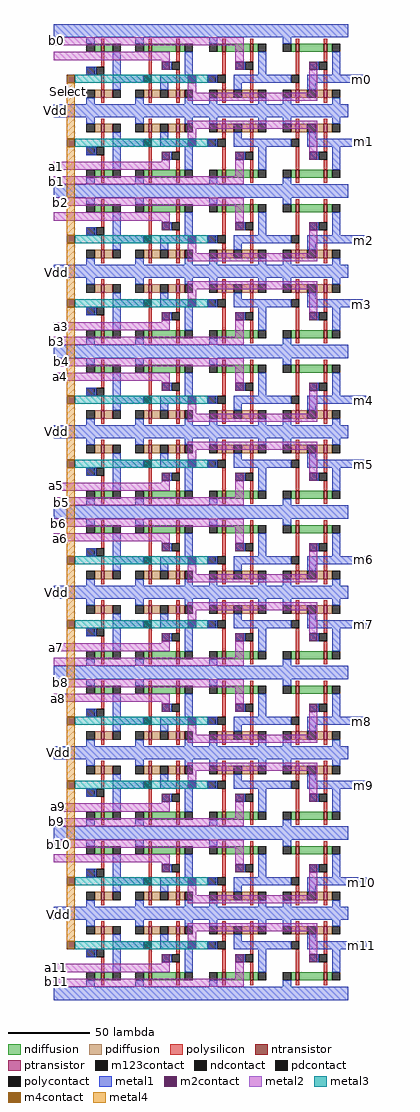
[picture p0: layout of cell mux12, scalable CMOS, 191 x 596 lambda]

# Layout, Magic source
magic
tech scmos
<< metal1 >>
rect -14 588 0 596
rect 169 560 177 565
rect -14 539 0 547
rect 169 521 177 526
rect -14 490 0 498
rect 169 462 177 467
rect -14 441 0 449
rect 169 423 177 428
rect -14 392 0 400
rect 169 364 177 369
rect -14 343 0 351
rect 169 325 177 330
rect -14 294 0 302
rect 169 266 177 271
rect -14 245 0 253
rect 169 227 177 232
rect -14 196 0 204
rect 169 168 177 173
rect -14 147 0 155
rect 169 129 177 134
rect -14 98 0 106
rect 169 70 177 75
rect -14 49 0 57
rect 169 31 177 36
rect -14 0 0 8
<< metal2 >>
rect -14 583 3 588
rect -14 574 3 579
rect -14 507 3 512
rect -14 498 3 503
rect -14 485 3 490
rect -14 476 3 481
rect -14 409 3 414
rect -14 400 3 405
rect -14 387 3 392
rect -14 378 3 383
rect -14 311 3 316
rect -14 302 3 307
rect -14 289 3 294
rect -14 280 3 285
rect -14 213 3 218
rect -14 204 3 209
rect -14 191 3 196
rect -14 182 3 187
rect -14 115 3 120
rect -14 106 3 111
rect -14 93 3 98
rect -14 84 3 89
rect -14 17 3 22
rect -14 8 3 13
<< metal3 >>
rect -1 560 6 565
rect -1 521 6 526
rect -1 462 6 467
rect -1 423 6 428
rect -1 364 6 369
rect -1 325 6 330
rect -1 266 6 271
rect -1 227 6 232
rect -1 168 6 173
rect -1 129 6 134
rect -1 70 6 75
rect -1 31 6 36
<< m4contact >>
rect -6 560 -1 565
rect -6 521 -1 526
rect -6 462 -1 467
rect -6 423 -1 428
rect -6 364 -1 369
rect -6 325 -1 330
rect -6 266 -1 271
rect -6 227 -1 232
rect -6 168 -1 173
rect -6 129 -1 134
rect -6 70 -1 75
rect -6 31 -1 36
<< metal4 >>
rect -6 526 -1 560
rect -6 467 -1 521
rect -6 428 -1 462
rect -6 369 -1 423
rect -6 330 -1 364
rect -6 271 -1 325
rect -6 232 -1 266
rect -6 173 -1 227
rect -6 134 -1 168
rect -6 75 -1 129
rect -6 36 -1 70
use muxComp  muxComp_0
array 0 0 0 0 5 98
transform 1 0 0 0 1 0
box 0 0 169 106
<< labels >>
rlabel metal2 -12 586 -12 586 3 b0
rlabel metal2 -11 578 -11 578 3 a0
rlabel metal2 -12 509 -12 509 3 a1
rlabel metal2 -12 500 -12 500 3 b1
rlabel metal2 -10 487 -10 487 3 b2
rlabel metal2 -8 479 -8 479 1 a2
rlabel metal2 -9 411 -9 411 3 a3
rlabel metal2 -12 402 -12 402 3 b3
rlabel metal2 -9 390 -9 390 3 b4
rlabel metal2 -10 381 -10 381 3 a4
rlabel metal2 -12 314 -12 314 3 a5
rlabel metal2 -9 304 -9 304 3 b5
rlabel metal2 -11 291 -11 291 3 b6
rlabel metal2 -10 282 -10 282 3 a6
rlabel metal2 -12 215 -12 215 3 a7
rlabel metal2 -10 207 -10 207 3 b7
rlabel metal2 -10 194 -10 194 3 b8
rlabel metal2 -11 184 -11 184 3 a8
rlabel metal2 -11 118 -11 118 3 a9
rlabel metal2 -12 109 -12 109 3 b9
rlabel metal2 -11 95 -11 95 3 b10
rlabel metal2 -12 87 -12 87 3 a10
rlabel metal2 -12 20 -12 20 3 a11
rlabel metal2 -12 11 -12 11 3 b11
rlabel metal1 -13 593 -13 593 4 Gnd
rlabel metal1 -13 543 -13 543 3 Vdd
rlabel metal1 -12 493 -12 493 3 Gnd
rlabel metal1 -12 444 -12 444 3 Vdd
rlabel metal1 -12 395 -12 395 3 Gnd
rlabel metal1 -12 347 -12 347 3 Vdd
rlabel metal1 -13 298 -13 298 3 Gnd
rlabel metal1 -12 249 -12 249 3 Vdd
rlabel metal1 -12 200 -12 200 3 Gnd
rlabel metal1 -11 151 -11 151 3 Vdd
rlabel metal1 -12 101 -12 101 3 Gnd
rlabel metal1 -11 52 -11 52 3 Vdd
rlabel metal1 -10 3 -10 3 2 Gnd
rlabel metal1 174 562 174 562 7 m0
rlabel metal1 175 524 175 524 7 m1
rlabel metal1 175 464 175 464 7 m2
rlabel metal1 174 425 174 425 7 m3
rlabel metal1 175 366 175 366 7 m4
rlabel metal1 175 327 175 327 7 m5
rlabel metal1 175 269 175 269 7 m6
rlabel metal1 175 229 175 229 7 m7
rlabel metal1 174 170 174 170 7 m8
rlabel metal1 175 131 175 131 7 m9
rlabel metal1 174 72 174 72 7 m10
rlabel metal1 174 33 174 33 7 m11
rlabel metal4 -5 555 -5 555 1 Select
<< end >>

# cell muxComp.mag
magic
tech scmos
use MUX  MUX_1
transform 1 0 36 0 -1 98
box -36 -8 133 49
use MUX  MUX_0
transform 1 0 36 0 1 8
box -36 -8 133 49
<< end >>

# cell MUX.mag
magic
tech scmos
<< metal1 >>
rect -36 46 130 49
rect -36 41 -33 46
rect -14 23 0 28
rect 77 23 91 28
rect 125 23 133 28
rect -36 -4 -33 0
rect -36 -8 130 -4
<< m2contact >>
rect 32 23 37 28
rect 16 15 21 20
rect 61 15 66 20
rect 106 15 111 20
<< metal2 >>
rect 32 34 111 39
rect 32 28 37 34
rect 106 20 111 34
rect 16 14 21 15
rect -33 9 21 14
rect 61 5 66 15
rect -33 0 66 5
<< m123contact >>
rect 44 23 49 28
rect -30 18 -25 23
<< metal3 >>
rect -30 23 44 28
use 2inv  2inv_0
transform 1 0 -540 0 1 -13
box 506 8 535 59
use 2NAND  2NAND_0
array 0 2 45 0 0 51
transform 1 0 14 0 1 34
box -19 -39 26 12
<< labels >>
rlabel metal2 -32 11 -32 11 3 a
rlabel metal2 -32 2 -32 2 3 b
rlabel metal3 -29 25 -29 25 3 S
rlabel metal1 132 25 132 25 7 Max
rlabel metal1 -35 43 -35 43 4 Vdd
rlabel metal1 -35 -3 -35 -3 2 Gnd
<< end >>

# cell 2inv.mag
magic
tech scmos
<< ntransistor >>
rect 519 17 521 22
<< ptransistor >>
rect 519 45 521 50
<< ndiffusion >>
rect 515 17 519 22
rect 521 17 526 22
<< pdiffusion >>
rect 515 45 519 50
rect 521 45 526 50
<< ndcontact >>
rect 510 17 515 22
rect 526 17 531 22
<< pdcontact >>
rect 510 45 515 50
rect 526 45 531 50
<< polysilicon >>
rect 519 50 521 53
rect 519 36 521 45
rect 519 22 521 31
rect 519 14 521 17
<< polycontact >>
rect 516 31 521 36
<< metal1 >>
rect 506 54 535 59
rect 510 50 515 54
rect 510 31 516 36
rect 526 22 531 45
rect 510 13 515 17
rect 506 8 535 13
<< end >>

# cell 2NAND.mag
magic
tech scmos
<< ntransistor >>
rect -6 -30 -4 -25
rect 11 -30 13 -25
<< ptransistor >>
rect -6 -2 -4 3
rect 11 -2 13 3
<< ndiffusion >>
rect -9 -30 -6 -25
rect -4 -30 11 -25
rect 13 -30 16 -25
<< pdiffusion >>
rect -9 -2 -6 3
rect -4 -2 1 3
rect 6 -2 11 3
rect 13 -2 16 3
<< ndcontact >>
rect -14 -30 -9 -25
rect 16 -30 21 -25
<< pdcontact >>
rect -14 -2 -9 3
rect 1 -2 6 3
rect 16 -2 21 3
<< polysilicon >>
rect -6 3 -4 6
rect 11 3 13 6
rect -6 -6 -4 -2
rect -6 -25 -4 -11
rect 11 -14 13 -2
rect 11 -25 13 -19
rect -6 -33 -4 -30
rect 11 -33 13 -30
<< polycontact >>
rect -9 -11 -4 -6
rect 8 -19 13 -14
<< metal1 >>
rect -19 7 26 12
rect -14 3 -9 7
rect 16 3 21 7
rect 1 -6 6 -2
rect -15 -11 -9 -6
rect 1 -11 23 -6
rect 2 -19 8 -14
rect 16 -25 21 -11
rect -14 -34 -9 -30
rect -19 -39 26 -34
<< end >>
